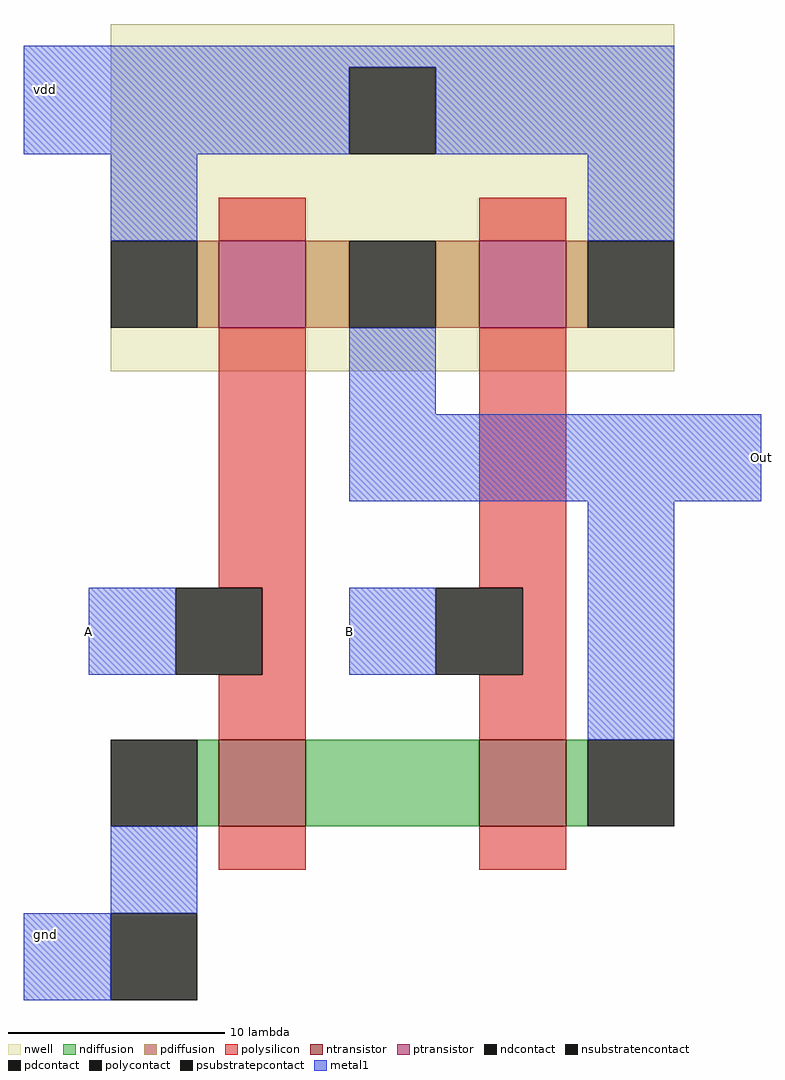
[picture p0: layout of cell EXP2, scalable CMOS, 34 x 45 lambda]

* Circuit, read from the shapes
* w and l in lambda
.subckt EXP2 A B Out gnd vdd
M1 n1 A gnd gnd nfet w=4 l=4
M2 Out B n1 gnd nfet w=4 l=4
M3 Out A vdd vdd pfet w=4 l=4
M4 vdd B Out vdd pfet w=4 l=4
.ends

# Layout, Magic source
magic
tech scmos
<< nwell >>
rect -8 7 18 23
<< polysilicon >>
rect -3 13 1 15
rect 9 13 13 15
rect -3 -3 1 9
rect 9 -3 13 9
rect -1 -7 1 -3
rect 11 -7 13 -3
rect -3 -10 1 -7
rect 9 -10 13 -7
rect -3 -16 1 -14
rect 9 -16 13 -14
<< ndiffusion >>
rect -4 -14 -3 -10
rect 1 -14 9 -10
rect 13 -14 14 -10
<< pdiffusion >>
rect -4 9 -3 13
rect 1 9 3 13
rect 7 9 9 13
rect 13 9 14 13
<< metal1 >>
rect -12 21 18 22
rect -12 17 3 21
rect 7 17 18 21
rect -8 13 -4 17
rect 14 13 18 17
rect 3 5 7 9
rect 3 1 22 5
rect -9 -7 -5 -3
rect 3 -7 7 -3
rect 14 -10 18 1
rect -8 -18 -4 -14
rect -12 -22 -8 -18
<< ntransistor >>
rect -3 -14 1 -10
rect 9 -14 13 -10
<< ptransistor >>
rect -3 9 1 13
rect 9 9 13 13
<< polycontact >>
rect -5 -7 -1 -3
rect 7 -7 11 -3
<< ndcontact >>
rect -8 -14 -4 -10
rect 14 -14 18 -10
<< pdcontact >>
rect -8 9 -4 13
rect 3 9 7 13
rect 14 9 18 13
<< psubstratepcontact >>
rect -8 -22 -4 -18
<< nsubstratencontact >>
rect 3 17 7 21
<< labels >>
rlabel metal1 -11 20 -11 20 4 vdd
rlabel metal1 -11 -19 -11 -19 2 gnd
rlabel metal1 -9 -7 -9 -3 3 A
rlabel metal1 3 -7 3 -3 1 B
rlabel metal1 22 1 22 5 7 Out
<< end >>
